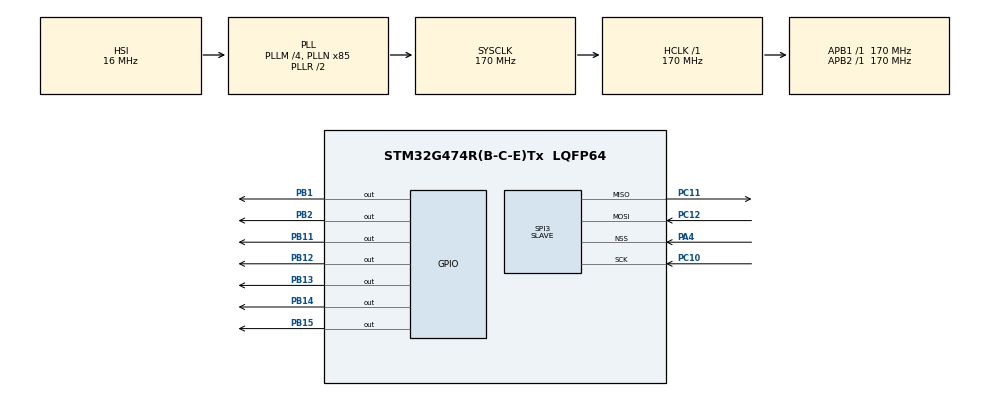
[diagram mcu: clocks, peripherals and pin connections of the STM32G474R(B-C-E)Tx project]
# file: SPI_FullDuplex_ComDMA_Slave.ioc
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Dma.Request0=SPI3_RX
Dma.Request1=SPI3_TX
Dma.SPI3_RX.0.Direction=DMA_PERIPH_TO_MEMORY
Dma.SPI3_RX.0.EventEnable=DISABLE
Dma.SPI3_RX.0.Instance=DMA1_Channel1
Dma.SPI3_RX.0.MemDataAlignment=DMA_MDATAALIGN_BYTE
Dma.SPI3_RX.0.MemInc=DMA_MINC_ENABLE
Dma.SPI3_RX.0.Mode=DMA_NORMAL
Dma.SPI3_RX.0.PeriphDataAlignment=DMA_PDATAALIGN_BYTE
Dma.SPI3_RX.0.PeriphInc=DMA_PINC_DISABLE
Dma.SPI3_RX.0.Polarity=HAL_DMAMUX_REQ_GEN_RISING
Dma.SPI3_RX.0.Priority=DMA_PRIORITY_HIGH
Dma.SPI3_RX.0.RequestNumber=1
Dma.SPI3_RX.0.SignalID=NONE
Dma.SPI3_RX.0.SyncEnable=DISABLE
Dma.SPI3_RX.0.SyncPolarity=HAL_DMAMUX_SYNC_NO_EVENT
Dma.SPI3_RX.0.SyncRequestNumber=1
Dma.SPI3_RX.0.SyncSignalID=NONE
Dma.SPI3_TX.1.Direction=DMA_MEMORY_TO_PERIPH
Dma.SPI3_TX.1.EventEnable=DISABLE
Dma.SPI3_TX.1.Instance=DMA1_Channel2
Dma.SPI3_TX.1.MemDataAlignment=DMA_MDATAALIGN_BYTE
Dma.SPI3_TX.1.MemInc=DMA_MINC_ENABLE
Dma.SPI3_TX.1.Mode=DMA_NORMAL
Dma.SPI3_TX.1.PeriphDataAlignment=DMA_PDATAALIGN_BYTE
Dma.SPI3_TX.1.PeriphInc=DMA_PINC_DISABLE
Dma.SPI3_TX.1.Polarity=HAL_DMAMUX_REQ_GEN_RISING
Dma.SPI3_TX.1.Priority=DMA_PRIORITY_HIGH
Dma.SPI3_TX.1.RequestNumber=1
Dma.SPI3_TX.1.SignalID=NONE
Dma.SPI3_TX.1.SyncEnable=DISABLE
Dma.SPI3_TX.1.SyncPolarity=HAL_DMAMUX_SYNC_NO_EVENT
Dma.SPI3_TX.1.SyncRequestNumber=1
Dma.SPI3_TX.1.SyncSignalID=NONE
Mcu.Family=STM32G4
Mcu.Name=STM32G474R(B-C-E)Tx
Mcu.Package=LQFP64
NVIC.DMA1_Channel1_IRQn=true\:0\:0\:false\:false\:true\:false\:true\:true
NVIC.DMA1_Channel2_IRQn=true\:0\:0\:false\:false\:true\:true\:true\:true
NVIC.PriorityGroup=NVIC_PRIORITYGROUP_4
PA4.Mode=NSS_Signal_Hard_Input
PA4.Signal=SPI3_NSS
PB1.Signal=GPIO_Output
PB11.Signal=GPIO_Output
PB12.Signal=GPIO_Output
PB13.Signal=GPIO_Output
PB14.Signal=GPIO_Output
PB15.Signal=GPIO_Output
PB2.Signal=GPIO_Output
PC10.Mode=Full_Duplex_Slave
PC10.Signal=SPI3_SCK
PC11.Mode=Full_Duplex_Slave
PC11.Signal=SPI3_MISO
PC12.Mode=Full_Duplex_Slave
PC12.Signal=SPI3_MOSI
ProjectManager.HeapSize=0x200
ProjectManager.StackSize=0x400
ProjectManager.TargetToolchain=STM32CubeIDE
RCC.ADC12Freq_Value=170000000
RCC.ADC345Freq_Value=170000000
RCC.AHBFreq_Value=170000000
RCC.APB1Freq_Value=170000000
RCC.APB1TimFreq_Value=170000000
RCC.APB2Freq_Value=170000000
RCC.APB2TimFreq_Value=170000000
RCC.CortexFreq_Value=170000000
RCC.EXTERNAL_CLOCK_VALUE=12288000
RCC.HCLKFreq_Value=170000000
RCC.HSE_VALUE=24000000
RCC.HSI48_VALUE=48000000
RCC.HSI_VALUE=16000000
RCC.LSE_VALUE=32768
RCC.PLLM=RCC_PLLM_DIV4
RCC.PLLN=85
RCC.SYSCLKFreq_VALUE=170000000
RCC.SYSCLKSource=RCC_SYSCLKSOURCE_PLLCLK
RCC.USBFreq_Value=170000000
RCC.VCOOutputFreq_Value=340000000
SPI3.DataSize=SPI_DATASIZE_8BIT
SPI3.Direction=SPI_DIRECTION_2LINES
SPI3.Mode=SPI_MODE_SLAVE
SPI3.VirtualNSS=VM_NSSHARD
SPI3.VirtualType=VM_SLAVE
VP_SYS_VS_DBSignals.Mode=DisableDeadBatterySignals
board=NUCLEO-G474RE

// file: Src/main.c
/* USER CODE BEGIN Header */
/**
  ******************************************************************************
  * @file    SPI/SPI_FullDuplex_ComDMA_Slave/Src/main.c
  * @author  MCD Application Team
  * @brief   This sample code shows how to use STM32G4xx SPI HAL API to transmit
  *          and receive a data buffer with a communication process based on
  *          DMA transfer.
  *          The communication is done using 2 Boards.
  ******************************************************************************
  * @attention
  *
  * Copyright (c) 2019 STMicroelectronics.
  * All rights reserved.
  *
  * This software is licensed under terms that can be found in the LICENSE file
  * in the root directory of this software component.
  * If no LICENSE file comes with this software, it is provided AS-IS.
  *
  ******************************************************************************
  */
/* USER CODE END Header */
#include "main.h"

/* USER CODE BEGIN Includes */
#include <stdio.h>
#include <stdlib.h>
#include <string.h>
/* USER CODE END Includes */

/* USER CODE BEGIN PTD */
int SPI3_Get_CS();
/* USER CODE END PTD */

/* USER CODE BEGIN PD */
enum
{
  TRANSFER_WAIT,
  TRANSFER_COMPLETE,
  TRANSFER_ERROR,
  TRANSFER_PROCESSED
};
/* USER CODE END PD */

SPI_HandleTypeDef hspi3;
DMA_HandleTypeDef hdma_spi3_rx;
DMA_HandleTypeDef hdma_spi3_tx;

/* USER CODE BEGIN PV */
/* Buffer used for transmission */
//uint8_t aTxBuffer[SPI_TX_RX_BUFFERSIZE]   = "tmuwhgbwguygmliawromewzzjebiisyendbbfdluaxqzwmizmkumzoofoblglvnlwjrskthmsjhedgypxamwvgncowmwiurbvdeusykeevcrodvx";
// =  0x613A as CRC-16/UMTS - buffer 61 then 3A as last byte.
// RAW BYTES[112] = 74 6D 75 77 68 67 62 77 67 75 79 67 6D 6C 69 61 77 72 6F 6D 65 77 7A 7A 6A 65 62 69 69 73 79 65 6E 64 62 62 66 64 6C 75 61 78 71 7A 77 6D 69 7A 6D 6B 75 6D 7A 6F 6F 66 6F 62 6C 67 6C 76 6E 6C 77 6A 72 73 6B 74 68 6D 73 6A 68 65 64 67 79 70 78 61 6D 77 76 67 6E 63 6F 77 6D 77 69 75 72 62 76 64 65 75 73 79 6B 65 65 76 63 72 6F 64 76 78 61 3A
// Result	Check	Poly	Init	RefIn	RefOut	XorOut
// 0x613A	0xFEE8	0x8005	0x0000	false	false	0x0000

uint8_t aTxBuffer[SPI_TX_RX_BUFFERSIZE] = "****SPI - Two Boards communication based on DMA **** SPI Message ******** SPI Message ******** SPI Message ****";
// seems to match  CRC-16/UMTS
// https://crccalc.com/?crc=****SPI%20-%20Two%20Boards%20communication%20based%20on%20DMA%20****%20SPI%20Message%20********%20SPI%20Message%20********%20SPI%20Message%20****&method=CRC-16&datatype=ascii&outtype=hex
// ioc settings CRC16 with X0+X2+X15
// RAW BYTES[112] 2A 2A 2A 2A 53 50 49 20 2D 20 54 77 6F 20 42 6F 61 72 64 73 20 63 6F 6D 6D 75 6E 69 63 61 74 69 6F 6E 20 62 61 73 65 64 20 6F 6E 20 44 4D 41 20 2A 2A 2A 2A 20 53 50 49 20 4D 65 73 73 61 67 65 20 2A 2A 2A 2A 2A 2A 2A 2A 20 53 50 49 20 4D 65 73 73 61 67 65 20 2A 2A 2A 2A 2A 2A 2A 2A 20 53 50 49 20 4D 65 73 73 61 67 65 20 2A 2A 2A 2A
// = 73 C2 = 0x73C2
// website says :
// Result	Check	Poly	Init	RefIn	RefOut	XorOut
// 0x73C2	0xFEE8	0x8005	0x0000	false	false	0x0000

//uint8_t aTxBuffer[]   = "well this is just to see what crc does with a shorter packet?"; // 0x7A33

/* Buffer used for reception */
uint8_t aRxBuffer[SPI_TX_RX_BUFFERSIZE];

/* transfer state */
__IO uint32_t wTransferState = TRANSFER_WAIT;

/* USER CODE END PV */

void SystemClock_Config(void);
static void MX_GPIO_Init(void);
static void MX_DMA_Init(void);
static void MX_SPI3_Init(void);

/* USER CODE BEGIN 0 */
typedef struct
{
	uint32_t HAL_Error_Counter;

	struct
	{
		uint32_t Interrupt_Counter;
		uint32_t States[HAL_SPI_STATE_ABORT+1];
	}CS_End;

	struct
	{
		uint32_t Begin_Counter;
		uint32_t End_Counter;
		uint32_t Length_Max_Error;
		uint32_t Length_DMA_Count_Error;
		uint32_t CRC_Error_Counter;
		uint32_t CRC_OK_Counter;

	}Process;

}SPI_Transfer_Status_t;

SPI_Transfer_Status_t SPI_Transfer_Status={};

int Transfer_Init=1;

#define SPI3_CS_PIN								GPIO_PIN_4
#define SPI3_CS_PORT							GPIOA
#define SPI3_CS_EXTI_IRQn						EXTI4_IRQn

#define SPI3_Process_DBG_D0_PIN					GPIO_PIN_13
#define SPI3_Process_DBG_D0_PORT				GPIOB
#define SPI3_Process_DBG_D1_PIN					GPIO_PIN_14
#define SPI3_Process_DBG_D1_PORT				GPIOB
#define SPI3_Process_DBG_D2_PIN					GPIO_PIN_15
#define SPI3_Process_DBG_D2_PORT				GPIOB
#define SPI3_Process_DBG_D3_PIN					GPIO_PIN_1
#define SPI3_Process_DBG_D3_PORT				GPIOB
#define SPI3_Process_DBG_D4_PIN					GPIO_PIN_2
#define SPI3_Process_DBG_D4_PORT				GPIOB
#define SPI3_Process_DBG_D5_PIN					GPIO_PIN_11
#define SPI3_Process_DBG_D5_PORT				GPIOB
#define SPI3_Process_DBG_D6_PIN					GPIO_PIN_12
#define SPI3_Process_DBG_D6_PORT				GPIOB

inline uint16_t cal_crc(const uint8_t *pBuffer,int pSize);

uint16_t cal_crc(const uint8_t *pBuffer,int pSize)
{
	uint16_t crc = 0xFFFF;
	for(int x=0;x<pSize;x++)
	{
		crc -= (uint8_t)*pBuffer;
		pBuffer++;
	}

	return crc;
}

#pragma pack(push, 1)
typedef struct
{
	struct
	{
		uint16_t length;
		uint8_t command;
		uint8_t buffer[3584];
	} payload;
	uint16_t crc;
}SPI_Transfer_Base_t;
#pragma pack(pop)

uint16_t Process_Buffer()
{
	// all good!
	SPI_Transfer_Status.Process.Begin_Counter++;

	SPI_Transfer_Base_t *packet = (SPI_Transfer_Base_t *)aRxBuffer;

	uint16_t Errors=0;
	int Length_Ok=0;
	int CRC_Ok=0;

	if(packet->payload.length>sizeof(SPI_Transfer_Base_t))
	{
		Errors=0x0001;
		SPI_Transfer_Status.Process.Length_Max_Error++;
	}
	else
	{
		int bytes_rx_in_DMA = SPI_TX_RX_BUFFERSIZE - hspi3.hdmarx->Instance->CNDTR;
		if(packet->payload.length == (bytes_rx_in_DMA)-2)
		{
			Length_Ok=1;
		}
		else
		{
			Errors=0x0002;
			SPI_Transfer_Status.Process.Length_DMA_Count_Error++;
		}
	}

	if(Length_Ok)
	{
		// ok packet length rx'f matches the DMA counter
		uint16_t rx_crc = cal_crc((uint8_t*)&packet->payload,packet->payload.length);

		if(packet->crc == rx_crc)
		{
			CRC_Ok=1;
			SPI_Transfer_Status.Process.CRC_OK_Counter++;
		}
		else
		{
			SPI_Transfer_Status.Process.CRC_Error_Counter++;
		}
	}

	SPI_Transfer_Status.Process.End_Counter++;

	return Errors;
}

HAL_StatusTypeDef SPI3_TEST_SEND(int pRandom)
{

	HAL_GPIO_WritePin(SPI3_Process_DBG_D1_PORT, SPI3_Process_DBG_D1_PIN, GPIO_PIN_SET); // SPI3_TEST_SEND started
	static uint32_t tx_counter;
	//memset(aRxBuffer,0xFF,sizeof(aRxBuffer));
	//memset(aTxBuffer,0,sizeof(aTxBuffer));

	SPI_Transfer_Base_t packet = {};

	pRandom=0;

	if(pRandom)
	{
		// random payload
		packet.payload.buffer[4]=tx_counter>>0;
		packet.payload.buffer[5]=tx_counter>>8;
		packet.payload.buffer[6]=tx_counter>>16;
		packet.payload.buffer[7]=tx_counter>>24;

		for(int x=8;x<sizeof(packet.payload.buffer);x++)
		{
			packet.payload.buffer[x]=rand();
		}
	}
	else
	{
		sprintf((char *)packet.payload.buffer, "Reply Message Blah Blah,%09ld,%09ld",tx_counter,HAL_GetTick());
	}

	HAL_GPIO_WritePin(SPI3_Process_DBG_D5_PORT, SPI3_Process_DBG_D5_PIN, GPIO_PIN_SET); // crc call check
	packet.payload.length = sizeof(packet)-2;
	packet.crc = cal_crc((const uint8_t *)&packet.payload, packet.payload.length);
	HAL_GPIO_WritePin(SPI3_Process_DBG_D5_PORT, SPI3_Process_DBG_D5_PIN, GPIO_PIN_RESET); // crc call check

	tx_counter++;

	memcpy(aTxBuffer,&packet,sizeof(packet));

//	uint8_t* byte_ptr=(uint8_t*)&packet;
//	for(int x=0;x<sizeof(packet);x++)
//	{
//		aTxBuffer[x]=byte_ptr[x];
//	}

	HAL_GPIO_WritePin(SPI3_Process_DBG_D1_PORT, SPI3_Process_DBG_D1_PIN, GPIO_PIN_RESET); // SPI3_TEST_SEND done

	HAL_StatusTypeDef res =  HAL_SPI_TransmitReceive_DMA(&hspi3, (uint8_t *)aTxBuffer, (uint8_t *)aRxBuffer, SPI_TX_RX_BUFFERSIZE);

	HAL_GPIO_WritePin(SPI3_Process_DBG_D2_PORT, SPI3_Process_DBG_D2_PIN, GPIO_PIN_SET); // ready to RX!

	return res;
}

void HAL_GPIO_EXTI_Callback(uint16_t GPIO_Pin)
{
	if(GPIO_Pin==GPIO_PIN_4)
	{
		if(SPI3_Get_CS())
		{
			SPI_Transfer_Status.CS_End.Interrupt_Counter++;

			HAL_StatusTypeDef state_res = HAL_SPI_GetState(&hspi3);
			if(state_res<=(HAL_StatusTypeDef)HAL_SPI_STATE_ABORT)
			{
				SPI_Transfer_Status.CS_End.States[state_res]++;
			}

			// just make this state - even if no bytes!
			wTransferState = TRANSFER_COMPLETE;

			HAL_GPIO_WritePin(SPI3_Process_DBG_D0_PORT, SPI3_Process_DBG_D0_PIN, GPIO_PIN_SET); // Signal Main loop sees transfer complete
		}
		else
		{
			HAL_GPIO_WritePin(SPI3_Process_DBG_D2_PORT, SPI3_Process_DBG_D2_PIN, GPIO_PIN_RESET); // RX started with CS low
		}
	}
}

int SPI3_Get_CS()
{
	return HAL_GPIO_ReadPin(SPI3_CS_PORT, SPI3_CS_PIN);
}

void SPI3_PA4_EN_Intterrupt()
{
	  GPIO_InitTypeDef GPIO_InitStruct = {0};
	  GPIO_InitStruct.Pin = SPI3_CS_PIN;
	  GPIO_InitStruct.Mode = GPIO_MODE_IT_RISING_FALLING;
	  GPIO_InitStruct.Pull = GPIO_NOPULL;
	  HAL_GPIO_Init(SPI3_CS_PORT, &GPIO_InitStruct);

	  /* EXTI interrupt init*/
	  HAL_NVIC_SetPriority(SPI3_CS_EXTI_IRQn, 0, 0);
	  HAL_NVIC_EnableIRQ(SPI3_CS_EXTI_IRQn);
}

/* USER CODE END 0 */

int main(void)
{

  /* USER CODE BEGIN 1 */

  /* STM32G4xx HAL library initialization:
       - Configure the Flash prefetch
       - Systick timer is configured by default as source of time base, but user
         can eventually implement his proper time base source (a general purpose
         timer for example or other time source), keeping in mind that Time base
         duration should be kept 1ms since PPP_TIMEOUT_VALUEs are defined and
         handled in milliseconds basis.
       - Set NVIC Group Priority to 4
       - Low Level Initialization
     */
  /* USER CODE END 1 */

  /* MCU Configuration--------------------------------------------------------*/

  /* Reset of all peripherals, Initializes the Flash interface and the Systick. */
  HAL_Init();

  /* Configure the system clock */
  SystemClock_Config();

  /* Initialize all configured peripherals */
  MX_GPIO_Init();
  MX_DMA_Init();
  MX_SPI3_Init();
  /* USER CODE BEGIN 2 */

  BSP_LED_Init(LED2);
  SPI3_PA4_EN_Intterrupt();
  /* USER CODE END 2 */

  /* Infinite loop */
  while (1)
  {

    /* USER CODE BEGIN 3 */

	  HAL_StatusTypeDef state_res = HAL_SPI_GetState(&hspi3);

	  if(Transfer_Init)
	  {
		  HAL_StatusTypeDef res = SPI3_TEST_SEND(1);
		  if ( res != HAL_OK)
		  {
		    /* Transfer error in transmission process */
		    Error_Handler();
		  }
		  Transfer_Init=0;
	  }

	  while (wTransferState == TRANSFER_WAIT)
	  {
	  }

	  switch (wTransferState)
	  {
	    case TRANSFER_COMPLETE :
			HAL_GPIO_WritePin(SPI3_Process_DBG_D0_PORT, SPI3_Process_DBG_D0_PIN, GPIO_PIN_RESET); // Main loop sees transfer complete

			HAL_GPIO_WritePin(SPI3_Process_DBG_D3_PORT, SPI3_Process_DBG_D3_PIN, GPIO_PIN_SET); // Process Buffer Start
	    	Process_Buffer();
	    	HAL_GPIO_WritePin(SPI3_Process_DBG_D3_PORT, SPI3_Process_DBG_D3_PIN, GPIO_PIN_RESET); // Process Buffer Done

			HAL_GPIO_WritePin(SPI3_Process_DBG_D4_PORT, SPI3_Process_DBG_D4_PIN, GPIO_PIN_SET); // SPI config for next packet start
	    	HAL_SPI_DMAStop(&hspi3);
			HAL_SPI_Abort(&hspi3);
			__HAL_RCC_SPI3_FORCE_RESET();
			__HAL_RCC_SPI3_RELEASE_RESET();
			HAL_GPIO_WritePin(SPI3_Process_DBG_D4_PORT, SPI3_Process_DBG_D4_PIN, GPIO_PIN_RESET); // SPI config for next packet start

			HAL_StatusTypeDef res = SPI3_TEST_SEND(1);

			wTransferState = TRANSFER_PROCESSED;
	      break;

	    case TRANSFER_ERROR:
	    	SPI_Transfer_Status.HAL_Error_Counter++;
			wTransferState = TRANSFER_PROCESSED;

			// https://community.st.com/t5/stm32-mcus-products/restart-spi-dma-transmission/td-p/637909
			HAL_SPI_DMAStop(&hspi3);
			__HAL_RCC_SPI3_FORCE_RESET();
			__HAL_RCC_SPI3_RELEASE_RESET();
			HAL_SPI_DeInit(&hspi3);
			MX_SPI3_Init();
			SPI3_PA4_EN_Intterrupt();

			Transfer_Init=1;
	      break;
	  }
  }
  /* USER CODE END 3 */
}

void SystemClock_Config(void)
{
  RCC_OscInitTypeDef RCC_OscInitStruct = {0};
  RCC_ClkInitTypeDef RCC_ClkInitStruct = {0};

  /** Configure the main internal regulator output voltage
  */
  HAL_PWREx_ControlVoltageScaling(PWR_REGULATOR_VOLTAGE_SCALE1_BOOST);

  /** Initializes the RCC Oscillators according to the specified parameters
  * in the RCC_OscInitTypeDef structure.
  */
  RCC_OscInitStruct.OscillatorType = RCC_OSCILLATORTYPE_HSI;
  RCC_OscInitStruct.HSIState = RCC_HSI_ON;
  RCC_OscInitStruct.HSICalibrationValue = RCC_HSICALIBRATION_DEFAULT;
  RCC_OscInitStruct.PLL.PLLState = RCC_PLL_ON;
  RCC_OscInitStruct.PLL.PLLSource = RCC_PLLSOURCE_HSI;
  RCC_OscInitStruct.PLL.PLLM = RCC_PLLM_DIV4;
  RCC_OscInitStruct.PLL.PLLN = 85;
  RCC_OscInitStruct.PLL.PLLP = RCC_PLLP_DIV2;
  RCC_OscInitStruct.PLL.PLLQ = RCC_PLLQ_DIV2;
  RCC_OscInitStruct.PLL.PLLR = RCC_PLLR_DIV2;
  if (HAL_RCC_OscConfig(&RCC_OscInitStruct) != HAL_OK)
  {
    Error_Handler();
  }

  /** Initializes the CPU, AHB and APB buses clocks
  */
  RCC_ClkInitStruct.ClockType = RCC_CLOCKTYPE_HCLK|RCC_CLOCKTYPE_SYSCLK
                              |RCC_CLOCKTYPE_PCLK1|RCC_CLOCKTYPE_PCLK2;
  RCC_ClkInitStruct.SYSCLKSource = RCC_SYSCLKSOURCE_PLLCLK;
  RCC_ClkInitStruct.AHBCLKDivider = RCC_SYSCLK_DIV1;
  RCC_ClkInitStruct.APB1CLKDivider = RCC_HCLK_DIV1;
  RCC_ClkInitStruct.APB2CLKDivider = RCC_HCLK_DIV1;

  if (HAL_RCC_ClockConfig(&RCC_ClkInitStruct, FLASH_LATENCY_4) != HAL_OK)
  {
    Error_Handler();
  }
}

static void MX_SPI3_Init(void)
{

  /* SPI3 parameter configuration*/
  hspi3.Instance = SPI3;
  hspi3.Init.Mode = SPI_MODE_SLAVE;
  hspi3.Init.Direction = SPI_DIRECTION_2LINES;
  hspi3.Init.DataSize = SPI_DATASIZE_8BIT;
  hspi3.Init.CLKPolarity = SPI_POLARITY_LOW;
  hspi3.Init.CLKPhase = SPI_PHASE_1EDGE;
  hspi3.Init.NSS = SPI_NSS_HARD_INPUT;
  hspi3.Init.FirstBit = SPI_FIRSTBIT_MSB;
  hspi3.Init.TIMode = SPI_TIMODE_DISABLE;
  hspi3.Init.CRCCalculation = SPI_CRCCALCULATION_DISABLE;
  hspi3.Init.CRCPolynomial = 7;
  hspi3.Init.CRCLength = SPI_CRC_LENGTH_DATASIZE;
  hspi3.Init.NSSPMode = SPI_NSS_PULSE_DISABLE;
  if (HAL_SPI_Init(&hspi3) != HAL_OK)
  {
    Error_Handler();
  }

}

static void MX_DMA_Init(void)
{

  /* DMA controller clock enable */
  __HAL_RCC_DMAMUX1_CLK_ENABLE();
  __HAL_RCC_DMA1_CLK_ENABLE();

  /* DMA interrupt init */
  /* DMA1_Channel1_IRQn interrupt configuration */
  HAL_NVIC_SetPriority(DMA1_Channel1_IRQn, 0, 0);
  HAL_NVIC_EnableIRQ(DMA1_Channel1_IRQn);
  /* DMA1_Channel2_IRQn interrupt configuration */
  HAL_NVIC_SetPriority(DMA1_Channel2_IRQn, 0, 0);
  HAL_NVIC_EnableIRQ(DMA1_Channel2_IRQn);

}

static void MX_GPIO_Init(void)
{
  GPIO_InitTypeDef GPIO_InitStruct = {0};

  /* GPIO Ports Clock Enable */
  __HAL_RCC_GPIOA_CLK_ENABLE();
  __HAL_RCC_GPIOB_CLK_ENABLE();
  __HAL_RCC_GPIOC_CLK_ENABLE();

  /*Configure GPIO pin Output Level */
  HAL_GPIO_WritePin(GPIOB, GPIO_PIN_1|GPIO_PIN_2|GPIO_PIN_11|GPIO_PIN_12
                          |GPIO_PIN_13|GPIO_PIN_14|GPIO_PIN_15, GPIO_PIN_RESET);

  /*Configure GPIO pins : PB1 PB2 PB11 PB12
                           PB13 PB14 PB15 */
  GPIO_InitStruct.Pin = GPIO_PIN_1|GPIO_PIN_2|GPIO_PIN_11|GPIO_PIN_12
                          |GPIO_PIN_13|GPIO_PIN_14|GPIO_PIN_15;
  GPIO_InitStruct.Mode = GPIO_MODE_OUTPUT_PP;
  GPIO_InitStruct.Pull = GPIO_NOPULL;
  GPIO_InitStruct.Speed = GPIO_SPEED_FREQ_LOW;
  HAL_GPIO_Init(GPIOB, &GPIO_InitStruct);

}

/* USER CODE BEGIN 4 */
/**
  * @brief  TxRx Transfer completed callback.
  * @param  hspi: SPI handle
  * @note   This example shows a simple way to report end of DMA TxRx transfer, and
  *         you can add your own implementation.
  * @retval None
  */
void HAL_SPI_TxRxCpltCallback(SPI_HandleTypeDef *hspi)
{
  static int callbacks;
  /* Turn LED2 on: Transfer in transmission/reception process is complete */

  callbacks++;
}

/**
  * @brief  SPI error callbacks.
  * @param  hspi: SPI handle
  * @note   This example shows a simple way to report transfer error, and you can
  *         add your own implementation.
  * @retval None
  */
void HAL_SPI_ErrorCallback(SPI_HandleTypeDef *hspi)
{
  wTransferState = TRANSFER_ERROR;
}

/* USER CODE END 4 */

void Error_Handler(void)
{
  /* USER CODE BEGIN Error_Handler_Debug */
  /* User can add his own implementation to report the HAL error return state */
  BSP_LED_Off(LED2);
  BSP_LED_Off(LED2);
  while (1)
  {
    /* Toggle LED2 for error */
	BSP_LED_On(LED2);
    HAL_Delay(1000);
  }
  /* USER CODE END Error_Handler_Debug */
}
